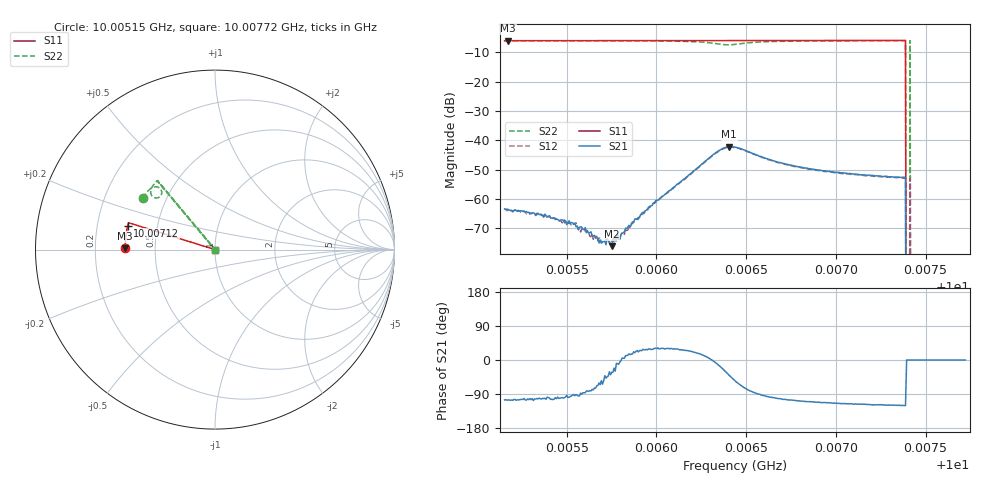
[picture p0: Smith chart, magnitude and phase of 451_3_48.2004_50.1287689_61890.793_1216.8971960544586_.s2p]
#  HZ  S  RI  R  50.00
! Rohde & Schwarz Vector Network Analyzer
! Rohde-Schwarz,ZNB20-2Port,1311601062101988,3.16
! Created: UTC 3/20/2024, 11:56:15 AM
! freq[Hz]  re:S11  im:S11  re:S21  im:S21  re:S12  im:S12  re:S22  im:S22
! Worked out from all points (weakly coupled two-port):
!   401 points, 10.00515 GHz to 10.00772 GHz, reference 50 ohm
!   highest |S21| = -42.17 dB at 10.00641 GHz (marker M1); lowest = -76.1 dB at 10.00575 GHz (marker M2)
!   lowest |S11| = -6.0 dB at 10.00517 GHz (marker M3), VSWR 3.00, Z = 16.7 + j0.366 ohm
!   |S11| at or under -10 dB: 10.00739 GHz to end of sweep
!   |S22| runs from - to -6.0 dB; largest |S21 - S12| = 0.0022
!   S11 on the Smith chart (normalised r, x): 10.00515 GHz: 0.33, +0.01; 10.00712 GHz: 0.33, +0.12; 10.00772 GHz: 1.00, +0.00
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1.0005154e10  -0.5003 0.00705  -0.000178 -0.00065  -0.000149 -0.000646  -0.4039 0.2865
1.0005173e10  -0.5002 0.00824  -0.000171 -0.000634  -0.000147 -0.000648  -0.4032 0.2876
1.0005411e10  -0.5002 0.0239  -0.000114 -0.000455  -8.78e-05 -0.000501  -0.3937 0.3016
1.0005546e10  -0.5 0.0327  -2.75e-05 -0.000386  2.34e-05 -0.000368  -0.3877 0.3096
1.0005584e10  -0.5 0.0353  -1.2e-06 -0.000329  9.92e-06 -0.000308  -0.386 0.312
1.0005693e10  -0.4995 0.0423  0.000103 -0.000144  0.000101 -0.000147  -0.3806 0.3186
1.0005751e10  -0.4993 0.0461  0.000132 -8.37e-05  0.000168 -9.14e-05  -0.3774 0.3224
1.0006014e10  -0.498 0.0631  0.000862 0.000486  0.000818 0.000516  -0.3589 0.3395
1.0006322e10  -0.4952 0.0828  0.00586 -0.000464  0.00576 -0.000175  -0.3011 0.3344
1.0006406e10  -0.4944 0.0879  0.00591 -0.00507  0.00603 -0.00464  -0.3074 0.2946
1.0006438e10  -0.494 0.0896  0.0044 -0.00631  0.00463 -0.00595  -0.3229 0.2879
1.0006669e10  -0.4924 0.1045  -0.000801 -0.00424  -0.00061 -0.00419  -0.358 0.3295
1.0006868e10  -0.49 0.1171  -0.00112 -0.00304  -0.000957 -0.00302  -0.3491 0.3511
1.0007125e10  -0.4864 0.1334  -0.00118 -0.00233  -0.00103 -0.00236  -0.3361 0.3689
1.0007298e10  -0.4838 0.1441  -0.00115 -0.0021  -0.00105 -0.0021  -0.3272 0.3788
1.0007375e10  -0.4823 0.1489  -0.00118 -0.00204  -0.00104 -0.002  -0.3232 0.3828
1.0007395e10  0 0  0 0  0 0  0 0
1.0007401e10  0 0  0 0  0 0  0 0
1.0007407e10  0 0  0 0  0 0  0 0
1.0007427e10  0 0  0 0  0 0  0 0
1.0007433e10  0 0  0 0  0 0  0 0
1.0007722e10  0 0  0 0  0 0  0 0
